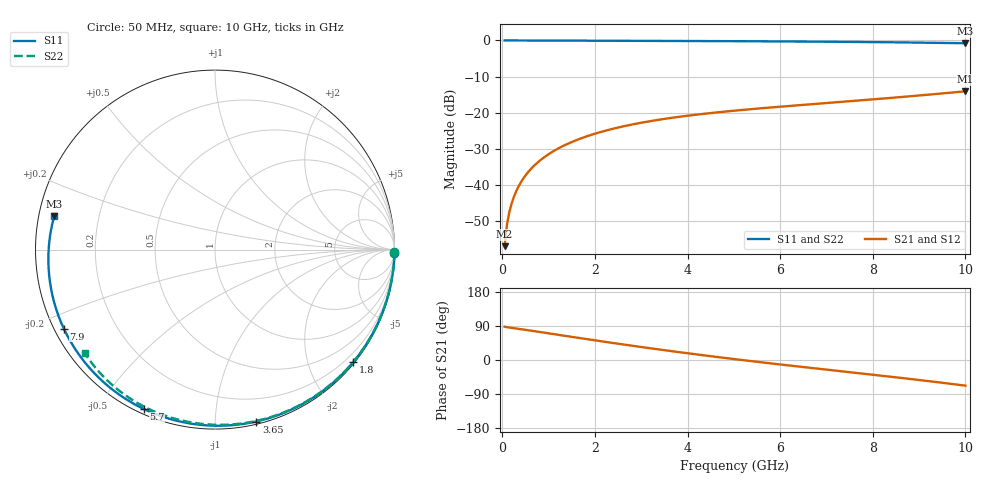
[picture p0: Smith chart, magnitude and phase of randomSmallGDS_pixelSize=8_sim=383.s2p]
! freq	dB(S11)	phase(S11)	dB(S12)	phase(S12)
!  dB(S21)	phase(S21)	dB(S22)	phase(S22)
!S-par simulation data
#  GHz  S  DB  R 50
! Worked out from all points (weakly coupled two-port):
!   200 points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, 50 MHz to 10 GHz, reference 50 ohm
!   highest |S21| = -14.11 dB at 10 GHz (marker M1); lowest = -57.1 dB at 50 MHz (marker M2)
!   lowest |S11| = -0.8 dB at 10 GHz (marker M3), VSWR 22.56, Z = 2.24 + j5.09 ohm
!   |S11| at or under -10 dB: nowhere
!   |S22| runs from -0.7 to 0.0 dB; largest |S21 - S12| = 0
!   S11 on the Smith chart (normalised r, x): 50 MHz: open; 1.8 GHz: 0.03, -2.81; 3.65 GHz: 0.02, -1.27; 5.7 GHz: 0.02, -0.65; 7.9 GHz: 0.03, -0.25; 10 GHz: 0.04, +0.10
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0.05  -0.00 -1.1  -57.07 87.9  -57.07 87.9  -0.00 -0.8
0.1  -0.00 -2.2  -51.17 86.6  -51.17 86.6  -0.00 -1.7
0.15  -0.00 -3.3  -47.74 85.6  -47.74 85.6  -0.00 -2.5
0.2  -0.00 -4.4  -45.30 84.8  -45.30 84.8  -0.00 -3.3
0.35  -0.01 -7.8  -40.53 82.3  -40.53 82.3  -0.00 -5.8
0.5  -0.01 -11.1  -37.47 79.6  -37.47 79.6  -0.01 -8.3
0.7  -0.02 -15.5  -34.59 76.0  -34.59 76.0  -0.01 -11.6
1  -0.03 -22.0  -31.55 70.4  -31.55 70.4  -0.02 -16.5
1.35  -0.04 -29.6  -29.04 63.8  -29.04 63.8  -0.03 -22.2
1.75  -0.06 -38.1  -26.93 56.5  -26.93 56.5  -0.04 -28.7
1.8  -0.06 -39.1  -26.70 55.5  -26.70 55.5  -0.05 -29.5
2.6  -0.09 -55.7  -23.86 41.2  -23.86 41.2  -0.07 -42.1
3.4  -0.12 -71.7  -21.96 27.6  -21.96 27.6  -0.10 -54.4
3.65  -0.13 -76.5  -21.48 23.4  -21.48 23.4  -0.11 -58.1
4.35  -0.16 -89.7  -20.35 12.3  -20.35 12.3  -0.13 -68.4
5.05  -0.20 -102.5  -19.43 1.8  -19.43 1.8  -0.17 -78.3
5.7  -0.24 -114.1  -18.70 -7.6  -18.70 -7.6  -0.20 -87.2
6.7  -0.32 -131.5  -17.67 -21.4  -17.67 -21.4  -0.26 -100.4
7.9  -0.44 -152.4  -16.46 -37.5  -16.46 -37.5  -0.37 -115.7
8.35  -0.50 -160.4  -15.98 -43.6  -15.98 -43.6  -0.42 -121.2
9.2  -0.62 -176.0  -15.04 -55.6  -15.04 -55.6  -0.53 -131.7
10  -0.77 168.4  -14.11 -67.7  -14.11 -67.7  -0.66 -141.4
